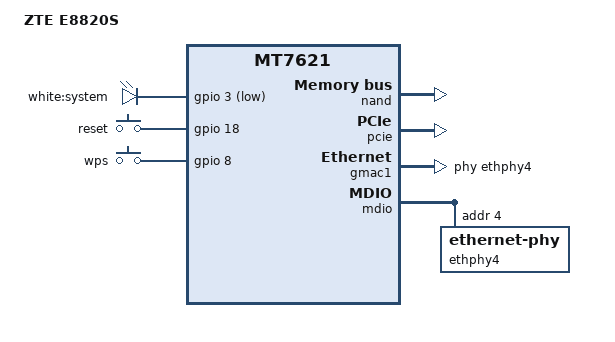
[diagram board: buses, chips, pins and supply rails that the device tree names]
#include "mt7621.dtsi"

#include <dt-bindings/gpio/gpio.h>
#include <dt-bindings/input/input.h>

/ {
	compatible = "zte,e8820s", "mediatek,mt7621-soc";
	model = "ZTE E8820S";

	aliases {
		led-boot = &led_system;
		led-failsafe = &led_system;
		led-running = &led_system;
		led-upgrade = &led_system;
	};

	chosen {
		bootargs = "console=ttyS0,115200";
	};

	leds {
		compatible = "gpio-leds";

		led_system: system {
			label = "white:system";
			gpios = <&gpio 3 GPIO_ACTIVE_LOW>;
		};
	};

	keys {
		compatible = "gpio-keys";

		reset {
			label = "reset";
			gpios = <&gpio 18 GPIO_ACTIVE_HIGH>;
			linux,code = <KEY_RESTART>;
		};

		wps {
			label = "wps";
			gpios = <&gpio 8 GPIO_ACTIVE_HIGH>;
			linux,code = <KEY_WPS_BUTTON>;
		};
	};
};

&nand {
	status = "okay";

	partitions {
		compatible = "fixed-partitions";
		#address-cells = <1>;
		#size-cells = <1>;

		partition@0 {
			label = "u-boot";
			reg = <0x0 0x80000>;
			read-only;
		};

		partition@80000 {
			label = "debug";
			reg = <0x80000 0x80000>;
			read-only;
		};

		factory: partition@100000 {
			label = "factory";
			reg = <0x100000 0x40000>;
			read-only;
		};

		firmware {
			label = "firmware";
			reg = <0x140000 0x2000000>;
		};

		partition@140000 {
			label = "kernel";
			reg = <0x140000 0x400000>;
		};

		partition@540000 {
			label = "ubi";
			reg = <0x540000 0x7580000>;
		};
	};
};

&pcie {
	status = "okay";
};

&pcie0 {
	mt76@0,0 {
		reg = <0x0000 0 0 0 0>;
		mediatek,mtd-eeprom = <&factory 0x0000>;
		ieee80211-freq-limit = <2400000 2500000>;
	};
};

&pcie1 {
	mt76@0,0 {
		reg = <0x0000 0 0 0 0>;
		mediatek,mtd-eeprom = <&factory 0x8000>;
		ieee80211-freq-limit = <5000000 6000000>;

		led {
			led-sources = <2>;
			led-active-low;
		};
	};
};

&gmac1 {
	status = "okay";
	label = "wan";
	phy-handle = <&ethphy4>;
};

&mdio {
	ethphy4: ethernet-phy@4 {
		reg = <4>;
	};
};

&switch0 {
	ports {
		port@0 {
			status = "okay";
			label = "lan1";
		};

		port@1 {
			status = "okay";
			label = "lan2";
		};

		port@2 {
			status = "okay";
			label = "lan3";
		};

		port@3 {
			status = "okay";
			label = "lan4";
		};
	};
};

&state_default {
	gpio {
		groups = "i2c", "uart2", "uart3", "wdt";
		function = "gpio";
	};
};
